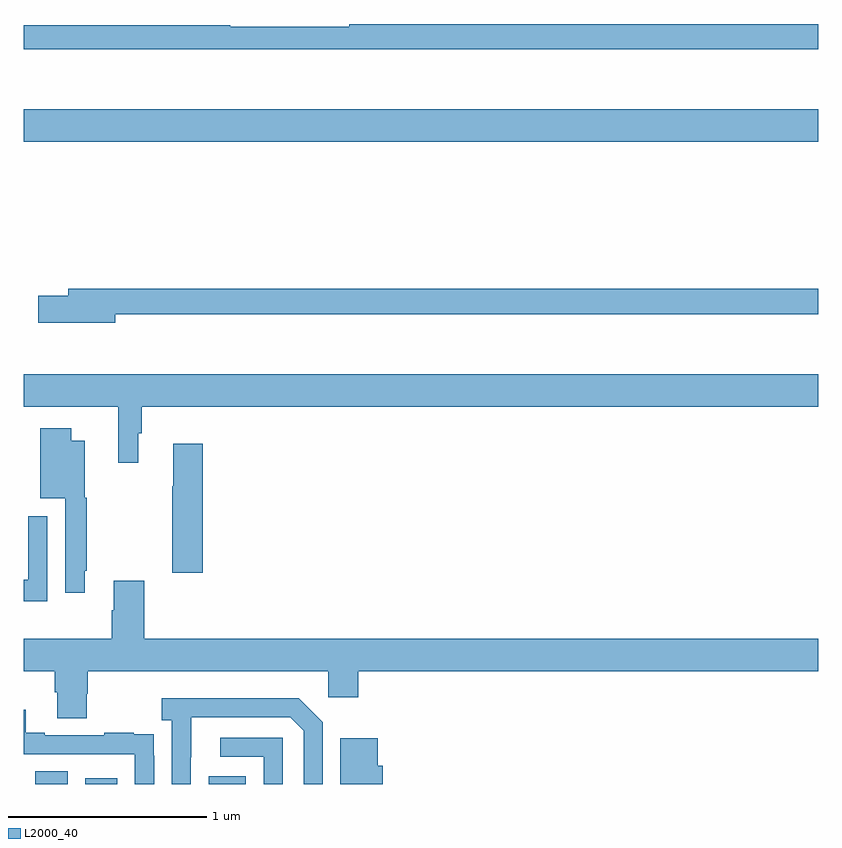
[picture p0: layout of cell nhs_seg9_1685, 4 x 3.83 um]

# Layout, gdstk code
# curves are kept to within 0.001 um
import gdstk
lib = gdstk.Library(unit=1e-6, precision=1e-09)
def R(c, l, rs):  # rectangles x0, y0, x1, y1
    for r in rs: c.add(gdstk.rectangle(r[:2], r[2:], *l))
def P(c, l, *ps):  # polygons
    for p in ps: c.add(gdstk.Polygon(p, *l))
L2000_40 = (2000, 40)

nhs_seg9_1685 = lib.new_cell('nhs_seg9_1685')
R(nhs_seg9_1685, L2000_40, [(205.058,1214.5,205.222,1214.564), (205.31,1214.5,205.471,1214.53), (205.931,1214.5,206.119,1214.539), (205,1217.732,209,1217.896)])
P(nhs_seg9_1685, L2000_40, [(209,1218.326),(206.639,1218.326),(206.639,1218.311),(206.039,1218.311),(206.039,1218.319),(205,1218.319),(205,1218.198),(209,1218.198)],
  [(205.462,1216.866),(209,1216.866),(209,1216.994),(205.223,1216.994),(205.223,1216.958),(205.074,1216.958),(205.074,1216.823),(205.462,1216.823)],
  [(205.576,1216.266),(205.595,1216.266),(205.595,1216.4),(209,1216.4),(209,1216.564),(205,1216.564),(205,1216.4),(205.477,1216.4),(205.477,1216.116),(205.576,1216.116)],
  [(205.306,1215.574),(205.318,1215.574),(205.318,1215.942),(205.306,1215.942),(205.306,1216.228),(205.24,1216.228),(205.24,1216.291),(205.082,1216.291),(205.082,1215.938),(205.209,1215.938),(205.209,1215.462),(205.306,1215.462)],
  [(205.901,1216.213),(205.754,1216.213),(205.754,1216),(205.747,1216),(205.747,1215.564),(205.901,1215.564)],
  [(205.119,1215.847),(205.022,1215.847),(205.022,1215.529),(205,1215.529),(205,1215.42),(205.119,1215.42)],
  [(205.317,1214.955),(205.322,1214.955),(205.322,1215.068),(206.532,1215.068),(206.532,1214.937),(206.684,1214.937),(206.684,1215.068),(209,1215.068),(209,1215.232),(205.607,1215.232),(205.607,1215.523),(205.454,1215.523),(205.454,1215.374),(205.442,1215.374),(205.442,1215.232),(205,1215.232),(205,1215.068),(205.157,1215.068),(205.157,1214.962),(205.169,1214.962),(205.169,1214.83),(205.317,1214.83)],
  [(205.842,1214.635),(205.843,1214.835),(206.343,1214.835),(206.409,1214.769),(206.409,1214.5),(206.505,1214.5),(206.505,1214.811),(206.384,1214.932),(205.695,1214.932),(205.695,1214.822),(205.746,1214.822),(205.746,1214.5),(205.842,1214.5)],
  [(205.656,1214.642),(205.655,1214.642),(205.655,1214.751),(205.553,1214.751),(205.553,1214.758),(205.405,1214.758),(205.405,1214.745),(205.105,1214.745),(205.105,1214.758),(205.009,1214.758),(205.009,1214.875),(205,1214.875),(205,1214.649),(205.56,1214.649),(205.56,1214.5),(205.656,1214.5)],
  [(206.304,1214.733),(205.989,1214.733),(205.989,1214.637),(206.208,1214.637),(206.208,1214.5),(206.304,1214.5)],
  [(206.807,1214.592),(206.782,1214.592),(206.782,1214.731),(206.594,1214.731),(206.594,1214.5),(206.807,1214.5)])

lib.write_gds('nhs_seg9_1685.gds')
